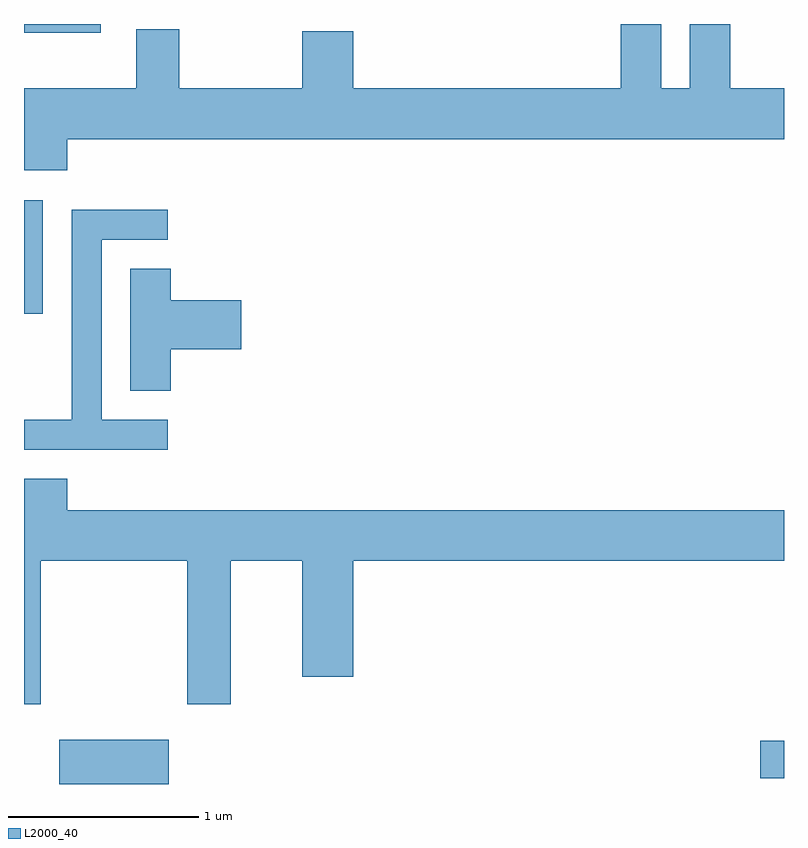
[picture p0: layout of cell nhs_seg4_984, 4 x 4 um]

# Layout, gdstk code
import gdstk
lib = gdstk.Library(unit=1e-6, precision=1e-09)
def R(c, l, rs):  # rectangles x0, y0, x1, y1
    for r in rs: c.add(gdstk.rectangle(r[:2], r[2:], *l))
def P(c, l, *ps):  # polygons
    for p in ps: c.add(gdstk.Polygon(p, *l))
L2000_40 = (2000, 40)

nhs_seg4_984 = lib.new_cell('nhs_seg4_984')
R(nhs_seg4_984, L2000_40, [(213.796,1317.982,214.374,1318.214), (217.486,1318.011,217.611,1318.209), (213.611,1320.456,213.709,1321.054), (213.611,1321.936,214.014,1321.982)])
P(nhs_seg4_984, L2000_40, [(213.839,1321.376),(217.611,1321.376),(217.611,1321.644),(217.329,1321.644),(217.329,1321.982),(217.116,1321.982),(217.116,1321.644),(216.964,1321.644),(216.964,1321.982),(216.751,1321.982),(216.751,1321.644),(215.344,1321.644),(215.344,1321.944),(215.076,1321.944),(215.076,1321.644),(214.429,1321.644),(214.429,1321.954),(214.201,1321.954),(214.201,1321.644),(213.611,1321.644),(213.611,1321.211),(213.839,1321.211)],
  [(214.368,1319.899),(214.019,1319.899),(214.019,1320.846),(214.368,1320.846),(214.368,1321.004),(213.861,1321.004),(213.861,1319.899),(213.611,1319.899),(213.611,1319.741),(214.368,1319.741)],
  [(214.384,1320.271),(214.754,1320.271),(214.754,1320.529),(214.384,1320.529),(214.384,1320.694),(214.171,1320.694),(214.171,1320.051),(214.384,1320.051)],
  [(213.699,1319.156),(214.471,1319.156),(214.471,1318.401),(214.699,1318.401),(214.699,1319.156),(215.076,1319.156),(215.076,1318.546),(215.344,1318.546),(215.344,1319.156),(217.611,1319.156),(217.611,1319.424),(213.839,1319.424),(213.839,1319.589),(213.611,1319.589),(213.611,1318.401),(213.699,1318.401)])

lib.write_gds('nhs_seg4_984.gds')
